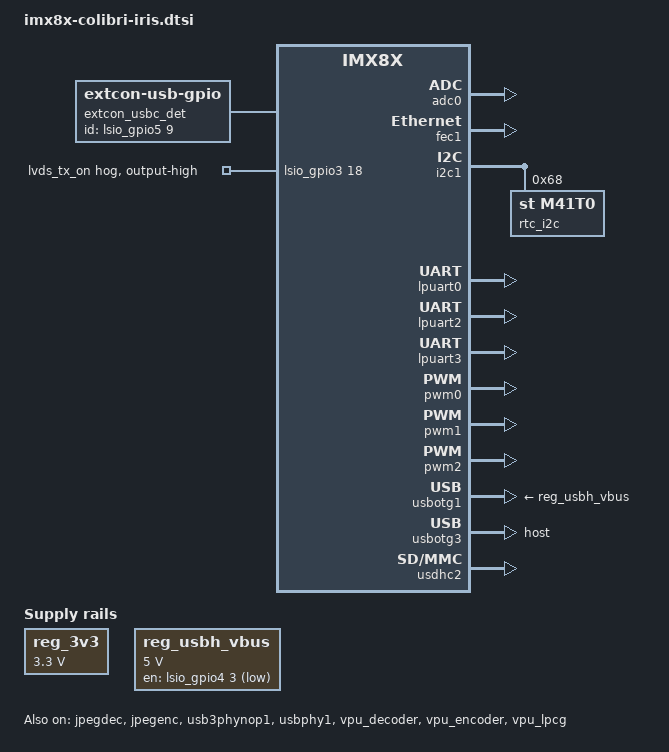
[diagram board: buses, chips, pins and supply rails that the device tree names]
// SPDX-License-Identifier: GPL-2.0+ OR X11
/*
 * Copyright 2018-2021 Toradex
 */

/ {
	aliases {
		rtc0 = &rtc_i2c;
	};

	extcon_usbc_det: usbc_det {
		compatible = "linux,extcon-usb-gpio";
		debounce = <25>;
		id-gpio = <&lsio_gpio5 9 GPIO_ACTIVE_HIGH>;
		pinctrl-names = "default";
		pinctrl-0 = <&pinctrl_usbc_det>;
	};

	reg_3v3: regulator-3v3 {
		compatible = "regulator-fixed";
		regulator-name = "3.3V";
		regulator-min-microvolt = <3300000>;
		regulator-max-microvolt = <3300000>;
	};

	reg_usbh_vbus: regulator-usbh-vbus {
		compatible = "regulator-fixed";
		pinctrl-names = "default";
		pinctrl-0 = <&pinctrl_usbh1_reg>;
		regulator-name = "usbh_vbus";
		regulator-min-microvolt = <5000000>;
		regulator-max-microvolt = <5000000>;
		gpio = <&lsio_gpio4 3 GPIO_ACTIVE_LOW>;
		regulator-always-on;
	};
};

/* Colibri Analogue Inputs */
&adc0 {
	status = "okay";
};

/* Colibri PWM_A */
&adma_pwm {
	status = "okay";
};

/* Colibri FastEthernet */
&fec1 {
	status = "okay";
};

/* Colibri I2C */
&i2c1 {
	status = "okay";

	/* M41T0M6 real time clock on carrier board */
	rtc_i2c: rtc@68 {
		compatible = "st,m41t0";
		reg = <0x68>;
	};
};

&iomuxc {
	pinctrl-names = "default";
	pinctrl-0 = <&pinctrl_gpio_iris>;

	gpio {
		pinctrl_gpio_iris: gpio-iris {
			fsl,pins = <
				IMX8QXP_QSPI0B_DATA3_LSIO_GPIO3_IO21	0x20        /* SODIMM  98 */
				IMX8QXP_USB_SS3_TC1_LSIO_GPIO4_IO04	0x20        /* SODIMM 133 */
				IMX8QXP_SAI0_TXD_LSIO_GPIO0_IO25	0x20        /* SODIMM 103 */
				IMX8QXP_SAI0_TXFS_LSIO_GPIO0_IO28	0x20        /* SODIMM 101 */
				IMX8QXP_SAI0_RXD_LSIO_GPIO0_IO27	0x20        /* SODIMM  97 */
				IMX8QXP_ENET0_RGMII_RXC_LSIO_GPIO5_IO03	0x06000020  /* SODIMM  85 */
				IMX8QXP_SAI0_TXC_LSIO_GPIO0_IO26        0x20        /* SODIMM  79 */
				IMX8QXP_QSPI0A_DATA1_LSIO_GPIO3_IO10	0x06700041  /* SODIMM  45 */
		>;
		};
	};

	uart {
		pinctrl_uart1_forceoff: uart1_forceoff {
			fsl,pins = <
				IMX8QXP_QSPI0A_SS0_B_LSIO_GPIO3_IO14	0x20	/* SODIMM 22 */
			>;
		};

		pinctrl_uart23_forceoff: uart23_forceoff {
			fsl,pins = <
				IMX8QXP_MIPI_DSI1_GPIO0_01_LSIO_GPIO2_IO00	0x20 /* SODIMM 23 */
			>;
		};
	};
};

&jpegdec {
	status = "okay";
};

&jpegenc {
	status = "okay";
};

/* Colibri UART_B */
&lpuart0 {
	status = "okay";
};

/* Colibri UART_C */
&lpuart2 {
	status = "okay";
};

/* Colibri UART_A */
&lpuart3 {
	status= "okay";
};

&lsio_gpio3 {
	/*
	 * Add GPIO3_10 as a wakeup source:
	 * Pin:  157	SC_P_QSPI0A_DATA1 (SODIMM_45)
	 * Type: 6	SC_PAD_WAKEUP_RISE_EDGE
	 * Line: 10	GPIO3_IO10
	 */
	pad-wakeup = <IMX8QXP_QSPI0A_DATA1 6 10>;
	pad-wakeup-num = <1>;

	/*
	 * This turns the LVDS transceiver on. If one wants to turn the
	 * transceiver off, that property has to be deleted and the gpio handled
	 * in userspace.
	 */
	lvds_tx_on {
		gpio-hog;
		gpios = <18 0>;
		output-high;
	};
};


/* Colibri PWM_B */
&pwm0 {
	status = "okay";
};

/* Colibri PWM_C */
&pwm1 {
	status = "okay";
};

/* Colibri PWM_D */
&pwm2 {
	status = "okay";
};

/* USB PHY for &usbotg3 */
&usb3phynop1 {
	status = "okay";
};

&usbotg1 {
	extcon = <&extcon_usbc_det &extcon_usbc_det>;
	vbus-supply = <&reg_usbh_vbus>;
	srp-disable;
	hnp-disable;
	adp-disable;
	power-active-high;
	disable-over-current;
	status = "okay";
};

&usbotg3 {
	dr_mode = "host";
	status = "okay";
};

/* USB PHY for &usbotg1 */
&usbphy1 {
	status = "okay";
};

/* Colibri SD/MMC Card */
&usdhc2 {
	status = "okay";
};

&vpu_decoder {
	status = "okay";
};

&vpu_encoder {
	status = "okay";
};

&vpu_lpcg {
	status = "okay";
};

